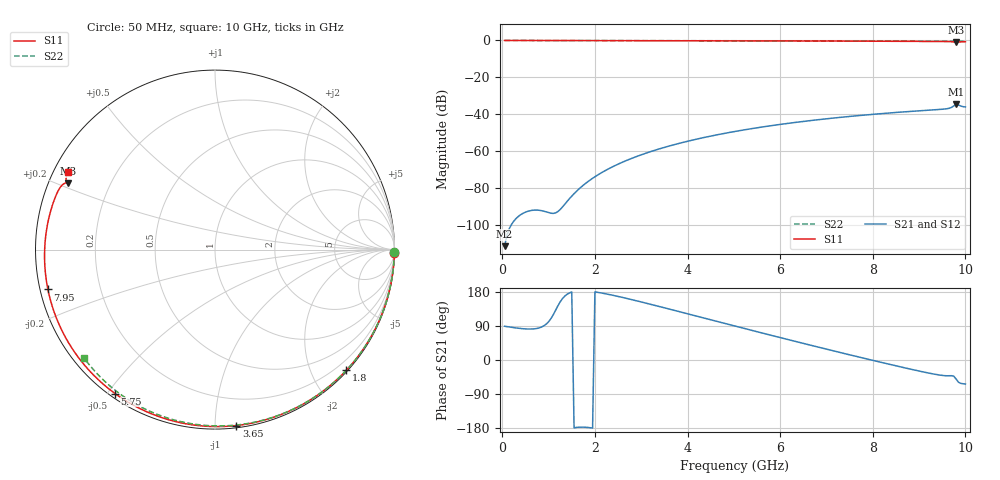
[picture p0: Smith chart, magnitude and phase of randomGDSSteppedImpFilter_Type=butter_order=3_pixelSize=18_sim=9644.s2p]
! freq	dB(S11)	phase(S11)	dB(S12)	phase(S12)
!  dB(S21)	phase(S21)	dB(S22)	phase(S22)
!S-par simulation data
#  GHz  S  DB  R 50
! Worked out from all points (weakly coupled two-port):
!   200 points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, 50 MHz to 10 GHz, reference 50 ohm
!   highest |S21| = -34.53 dB at 9.8 GHz (marker M1); lowest = -111.3 dB at 50 MHz (marker M2)
!   lowest |S11| = -0.9 dB at 9.8 GHz (marker M3), VSWR 18.65, Z = 2.8 + j10.7 ohm
!   |S11| at or under -10 dB: nowhere
!   |S22| runs from -0.5 to 0.0 dB; largest |S21 - S12| = 0
!   S11 on the Smith chart (normalised r, x): 50 MHz: 0, -94; 1.8 GHz: 0.02, -2.57; 3.65 GHz: 0.01, -1.13; 5.75 GHz: 0.02, -0.52; 7.95 GHz: 0.02, -0.12; 10 GHz: 0.04, +0.25
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0.05  -0.00 -1.2  -111.27 89.0  -111.27 89.0  -0.00 -0.8
0.8  -0.02 -19.2  -91.86 84.8  -91.86 84.8  -0.02 -12.9
1.65  -0.05 -39.1  -80.44 -177.3  -80.44 -177.3  -0.03 -26.5
1.75  -0.05 -41.4  -78.27 -177.2  -78.27 -177.2  -0.04 -28.1
1.8  -0.05 -42.6  -77.27 -177.5  -77.27 -177.5  -0.04 -28.8
2.1  -0.06 -49.4  -72.16 177.8  -72.16 177.8  -0.04 -33.5
2.5  -0.08 -58.4  -66.91 167.8  -66.91 167.8  -0.05 -39.7
2.9  -0.09 -67.1  -62.76 156.2  -62.76 156.2  -0.06 -45.8
3.4  -0.10 -77.8  -58.57 140.9  -58.57 140.9  -0.07 -53.3
3.65  -0.11 -83.1  -56.78 133.1  -56.78 133.1  -0.08 -57.1
4.35  -0.14 -97.4  -52.52 110.9  -52.52 110.9  -0.10 -67.2
5.05  -0.17 -111.3  -49.10 88.8  -49.10 88.8  -0.12 -77.1
5.75  -0.21 -124.8  -46.30 66.9  -46.30 66.9  -0.15 -86.7
6.7  -0.27 -142.8  -43.21 37.7  -43.21 37.7  -0.19 -99.3
7.35  -0.33 -155.1  -41.46 18.2  -41.46 18.2  -0.23 -107.6
7.95  -0.38 -166.6  -40.07 0.5  -40.07 0.5  -0.27 -115.2
8.35  -0.42 -174.4  -39.24 -11.1  -39.24 -11.1  -0.31 -120.2
9  -0.50 172.5  -38.06 -29.1  -38.06 -29.1  -0.37 -128.2
9.6  -0.60 159.5  -36.94 -41.7  -36.94 -41.7  -0.43 -135.6
9.7  -0.69 156.9  -36.22 -41.4  -36.22 -41.4  -0.44 -136.8
9.8  -0.93 155.8  -34.53 -50.3  -34.53 -50.3  -0.45 -138.0
10  -0.67 152.2  -35.97 -63.4  -35.97 -63.4  -0.47 -140.5
